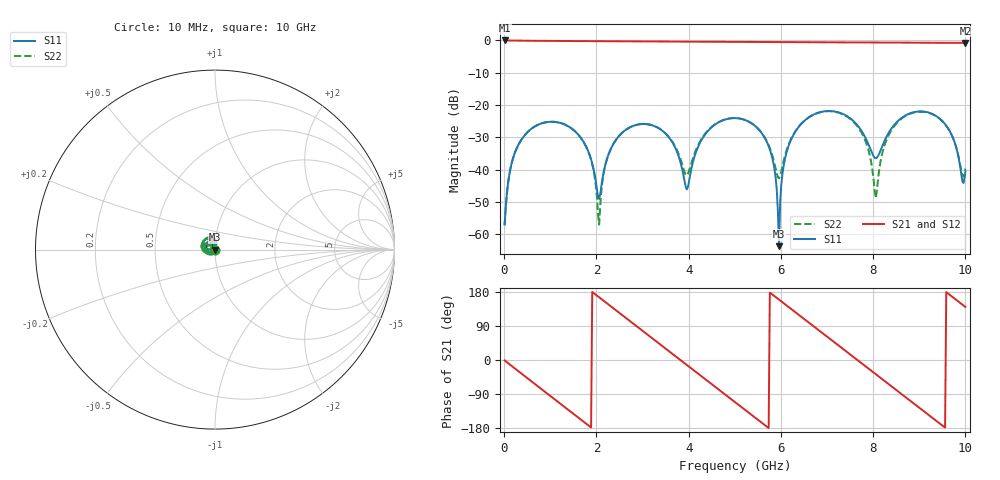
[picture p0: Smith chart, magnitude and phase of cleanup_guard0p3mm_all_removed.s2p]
! Layout cleanup equivalence validation - 38 mm 50 ohm stripline
! Case: Cleanup, 0.3 mm guard - all 8 clutter traces removed
! Solver: Ansys HFSS 3D Layout 2026 R1, broadband adaptive 1-5 GHz,
!  Delta S 0.02, interpolating sweep 10 MHz - 10 GHz
# GHz S MA R 50.000000
! Terminal data exported
! Port[1] = U1.PAD1.SIG
! Port[2] = U2.PAD1.SIG
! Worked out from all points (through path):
!   401 points, 10 MHz to 10 GHz, reference 50 ohm
!   highest |S21| = -0.01 dB at 10 MHz (marker M1); lowest = -0.8 dB at 10 GHz (marker M2)
!   group delay of S21, straight-line fit = 261 ps
!   lowest |S11| = -63.7 dB at 5.96 GHz (marker M3), VSWR 1.00, Z = 49.9 - j0.0282 ohm
!   |S11| at or under -10 dB: start of sweep to end of sweep
!   |S22| runs from -57.1 to -21.9 dB; largest |S21 - S12| = 2.9e-14
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0.01  0.001402 -22.4  0.9986 -1.0  0.9986 -1.0  0.001403 -22.3
0.185  0.01433 -93.9  0.9944 -17.8  0.9944 -17.8  0.01437 -93.4
0.51  0.03817 -132.5  0.9889 -48.6  0.9889 -48.6  0.03827 -131.1
1.085  0.05478 169.9  0.9813 -102.8  0.9813 -102.8  0.05487 172.3
1.685  0.0295 114.9  0.9764 -159.2  0.9764 -159.2  0.02936 114.4
2.06  0.003499 169.3  0.9735 165.4  0.9735 165.4  0.001407 -29.4
2.21  0.01318 -137.7  0.9722 151.3  0.9722 151.3  0.01288 -105.9
2.46  0.03123 -152.9  0.9696 127.8  0.9696 127.8  0.0312 -132.2
3.36  0.04326 122.5  0.9619 43.3  0.9619 43.3  0.04351 148.3
3.96  0.004913 -17.4  0.9577 -13.1  0.9577 -13.1  0.008082 175.5
4.36  0.03522 -139.5  0.9544 -50.7  0.9544 -50.7  0.03611 -146.9
5.01  0.06256 155.1  0.9483 -111.6  0.9483 -111.6  0.0628 162.0
5.685  0.02773 91.9  0.9453 -174.9  0.9453 -174.9  0.02842 111.3
5.96  0.0006513 -154.3  0.9438 159.2  0.9438 159.2  0.007337 166.9
6.185  0.0252 -136.4  0.9419 138.1  0.9419 138.1  0.02627 -144.9
6.685  0.0696 178.6  0.9364 91.1  0.9364 91.1  0.06958 179.8
7.61  0.05316 102.4  0.9313 4.5  0.9313 4.5  0.05145 95.2
8.06  0.01496 137.3  0.9296 -37.8  0.9296 -37.8  0.00361 -37.3
8.335  0.03696 176.9  0.9273 -63.7  0.9273 -63.7  0.0339 -141.4
8.81  0.07481 147.4  0.9222 -108.2  0.9222 -108.2  0.07351 171.9
9.335  0.0696 104.1  0.9192 -157.4  0.9192 -157.4  0.06894 124.9
10  0.009196 178.7  0.9168 140.0  0.9168 140.0  0.01033 -170.2
